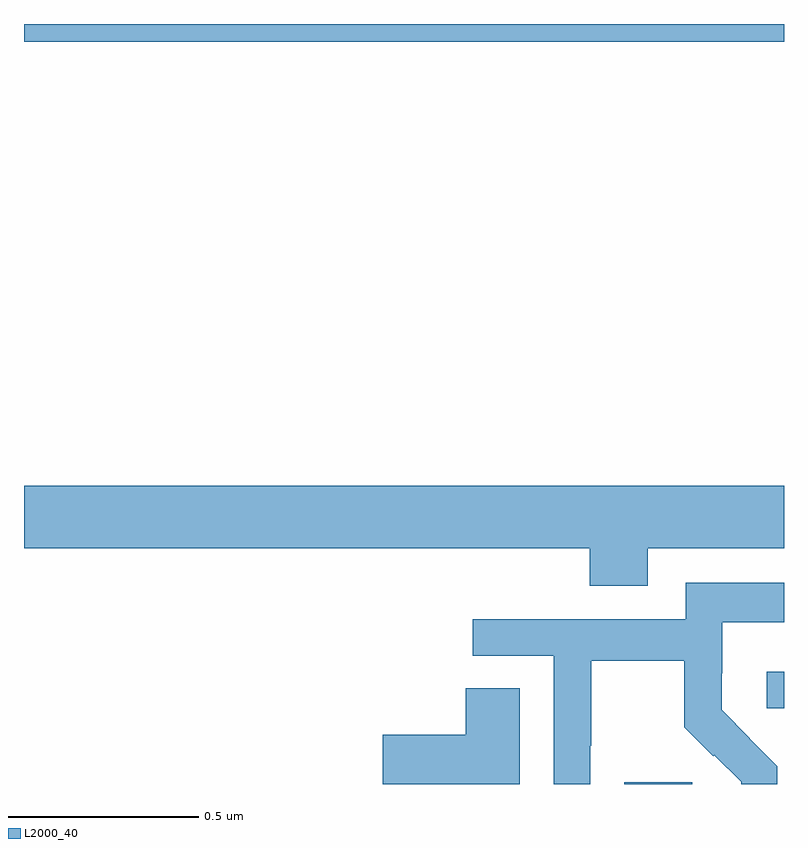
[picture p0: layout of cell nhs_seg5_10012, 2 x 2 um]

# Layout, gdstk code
import gdstk
lib = gdstk.Library(unit=1e-6, precision=1e-09)
def R(c, l, rs):  # rectangles x0, y0, x1, y1
    for r in rs: c.add(gdstk.rectangle(r[:2], r[2:], *l))
def P(c, l, *ps):  # polygons
    for p in ps: c.add(gdstk.Polygon(p, *l))
L2000_40 = (2000, 40)

nhs_seg5_10012 = lib.new_cell('nhs_seg5_10012')
R(nhs_seg5_10012, L2000_40, [(242.579,862.799,242.758,862.803), (242.955,862.998,243,863.095), (241,864.752,243,864.799)])
P(nhs_seg5_10012, L2000_40, [(242.641,863.42),(243,863.42),(243,863.584),(241,863.584),(241,863.42),(242.489,863.42),(242.489,863.321),(242.641,863.321)],
  [(242.49,862.9),(242.493,862.9),(242.493,863.124),(242.737,863.124),(242.737,862.949),(242.814,862.872),(242.817,862.875),(242.888,862.805),(242.888,862.799),(242.982,862.799),(242.982,862.846),(242.909,862.919),(242.91,862.92),(242.836,862.994),(242.836,863.091),(242.838,863.091),(242.838,863.225),(243,863.225),(243,863.329),(242.742,863.329),(242.742,863.232),(242.181,863.232),(242.181,863.136),(242.394,863.136),(242.394,862.799),(242.49,862.799)],
  [(242.305,863.051),(242.162,863.051),(242.162,862.928),(241.944,862.928),(241.944,862.799),(242.305,862.799)])

lib.write_gds('nhs_seg5_10012.gds')
